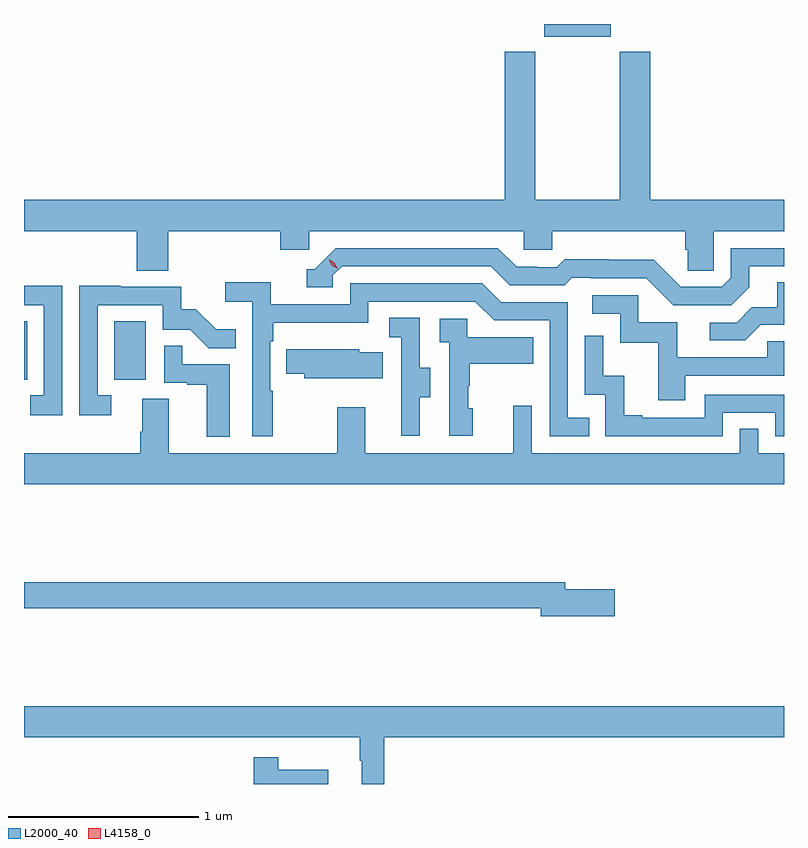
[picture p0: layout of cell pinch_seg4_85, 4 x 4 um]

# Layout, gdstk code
import gdstk
lib = gdstk.Library(unit=1e-6, precision=1e-09)
def R(c, l, rs):  # rectangles x0, y0, x1, y1
    for r in rs: c.add(gdstk.rectangle(r[:2], r[2:], *l))
def P(c, l, *ps):  # polygons
    for p in ps: c.add(gdstk.Polygon(p, *l))
L2000_40 = (2000, 40)
L4158_0 = (4158, 0)

pinch_seg4_85 = lib.new_cell('pinch_seg4_85')
R(pinch_seg4_85, L2000_40, [(1071.714,817.35,1071.73,817.657), (1072.19,817.35,1072.354,817.657), (1074.452,819.155,1074.802,819.222)])
P(pinch_seg4_85, L2000_40, [(1072.472,818.132),(1073.063,818.132),(1073.063,818.034),(1073.214,818.034),(1073.214,818.132),(1074.345,818.132),(1074.345,818.034),(1074.495,818.034),(1074.495,818.132),(1075.193,818.132),(1075.193,818.034),(1075.207,818.034),(1075.207,817.924),(1075.344,817.924),(1075.344,818.132),(1075.714,818.132),(1075.714,818.296),(1075.01,818.296),(1075.01,819.076),(1074.85,819.076),(1074.85,818.296),(1074.405,818.296),(1074.405,819.076),(1074.245,819.076),(1074.245,818.296),(1071.714,818.296),(1071.714,818.132),(1072.307,818.132),(1072.307,817.924),(1072.472,817.924)],
  [(1075.531,817.837),(1075.531,817.947),(1075.714,817.947),(1075.714,818.043),(1075.434,818.043),(1075.434,817.887),(1075.386,817.839),(1075.17,817.839),(1075.028,817.981),(1074.792,817.981),(1074.792,817.984),(1074.559,817.984),(1074.517,817.941),(1074.414,817.941),(1074.414,817.944),(1074.307,817.944),(1074.208,818.043),(1073.355,818.043),(1073.244,817.932),(1073.201,817.932),(1073.201,817.836),(1073.34,817.836),(1073.34,817.899),(1073.388,817.947),(1074.171,817.947),(1074.27,817.848),(1074.559,817.848),(1074.598,817.887),(1074.697,817.887),(1074.697,817.884),(1074.99,817.884),(1075.131,817.743),(1075.437,817.743)],
  [(1073.023,817.292),(1073.01,817.292),(1073.01,817.553),(1073.027,817.553),(1073.027,817.649),(1073.526,817.649),(1073.526,817.761),(1074.09,817.761),(1074.189,817.662),(1074.48,817.662),(1074.48,817.053),(1074.689,817.053),(1074.689,817.149),(1074.576,817.149),(1074.576,817.758),(1074.226,817.758),(1074.127,817.857),(1073.43,817.857),(1073.43,817.746),(1073.012,817.746),(1073.012,817.862),(1072.773,817.862),(1072.773,817.76),(1072.914,817.76),(1072.914,817.053),(1073.023,817.053)],
  [(1075.591,817.638),(1075.714,817.638),(1075.714,817.862),(1075.679,817.862),(1075.679,817.73),(1075.544,817.73),(1075.464,817.65),(1075.323,817.65),(1075.323,817.557),(1075.51,817.557)],
  [(1072.174,817.269),(1072.101,817.269),(1072.101,817.743),(1072.443,817.743),(1072.443,817.614),(1072.588,817.614),(1072.686,817.516),(1072.829,817.516),(1072.829,817.615),(1072.725,817.615),(1072.618,817.722),(1072.542,817.722),(1072.542,817.839),(1072.223,817.839),(1072.223,817.844),(1072.005,817.844),(1072.005,817.164),(1072.174,817.164)],
  [(1071.915,817.844),(1071.714,817.844),(1071.714,817.743),(1071.819,817.743),(1071.819,817.269),(1071.747,817.269),(1071.747,817.164),(1071.915,817.164)],
  [(1075.195,817.371),(1075.714,817.371),(1075.714,817.551),(1075.627,817.551),(1075.627,817.467),(1075.153,817.467),(1075.153,817.653),(1074.948,817.653),(1074.948,817.794),(1074.705,817.794),(1074.705,817.698),(1074.852,817.698),(1074.852,817.545),(1075.051,817.545),(1075.051,817.242),(1075.195,817.242)],
  [(1073.797,817.258),(1073.851,817.258),(1073.851,817.413),(1073.796,817.413),(1073.796,817.676),(1073.637,817.676),(1073.637,817.573),(1073.7,817.573),(1073.7,817.269),(1073.699,817.269),(1073.699,817.056),(1073.797,817.056)],
  [(1074.076,817.2),(1074.051,817.2),(1074.051,817.319),(1074.061,817.319),(1074.061,817.433),(1074.395,817.433),(1074.395,817.573),(1074.048,817.573),(1074.048,817.671),(1073.901,817.671),(1073.901,817.547),(1073.952,817.547),(1073.952,817.056),(1074.076,817.056)],
  [(1075.392,817.176),(1075.668,817.176),(1075.668,817.053),(1075.714,817.053),(1075.714,817.272),(1075.296,817.272),(1075.296,817.149),(1074.967,817.149),(1074.967,817.162),(1074.872,817.162),(1074.872,817.37),(1074.762,817.37),(1074.762,817.582),(1074.666,817.582),(1074.666,817.272),(1074.774,817.272),(1074.774,817.053),(1075.392,817.053)],
  [(1072.798,817.431),(1072.547,817.431),(1072.547,817.529),(1072.452,817.529),(1072.452,817.335),(1072.573,817.335),(1072.573,817.323),(1072.676,817.323),(1072.676,817.049),(1072.798,817.049)],
  [(1073.603,817.495),(1073.478,817.495),(1073.478,817.51),(1073.206,817.51),(1073.206,817.509),(1073.095,817.509),(1073.095,817.381),(1073.189,817.381),(1073.189,817.358),(1073.603,817.358)],
  [(1075.714,816.964),(1075.578,816.964),(1075.578,817.091),(1075.482,817.091),(1075.482,816.964),(1074.387,816.964),(1074.387,817.213),(1074.29,817.213),(1074.29,816.964),(1073.509,816.964),(1073.509,817.204),(1073.362,817.204),(1073.362,816.964),(1072.477,816.964),(1072.477,817.25),(1072.337,817.25),(1072.337,817.076),(1072.325,817.076),(1072.325,816.964),(1071.714,816.964),(1071.714,816.8),(1075.714,816.8)],
  [(1074.823,816.248),(1074.562,816.248),(1074.562,816.284),(1071.714,816.284),(1071.714,816.148),(1074.434,816.148),(1074.434,816.106),(1074.823,816.106)],
  [(1073.609,815.468),(1075.714,815.468),(1075.714,815.632),(1071.714,815.632),(1071.714,815.468),(1073.481,815.468),(1073.481,815.345),(1073.492,815.345),(1073.492,815.222),(1073.609,815.222)],
  [(1073.314,815.296),(1073.053,815.296),(1073.053,815.362),(1072.924,815.362),(1072.924,815.222),(1073.314,815.222)])
P(pinch_seg4_85, L4158_0, [(1073.364,817.934),(1073.334,817.953),(1073.318,817.985),(1073.318,817.985),(1073.318,817.985),(1073.348,817.966),(1073.365,817.934),(1073.365,817.934)])

lib.write_gds('pinch_seg4_85.gds')
